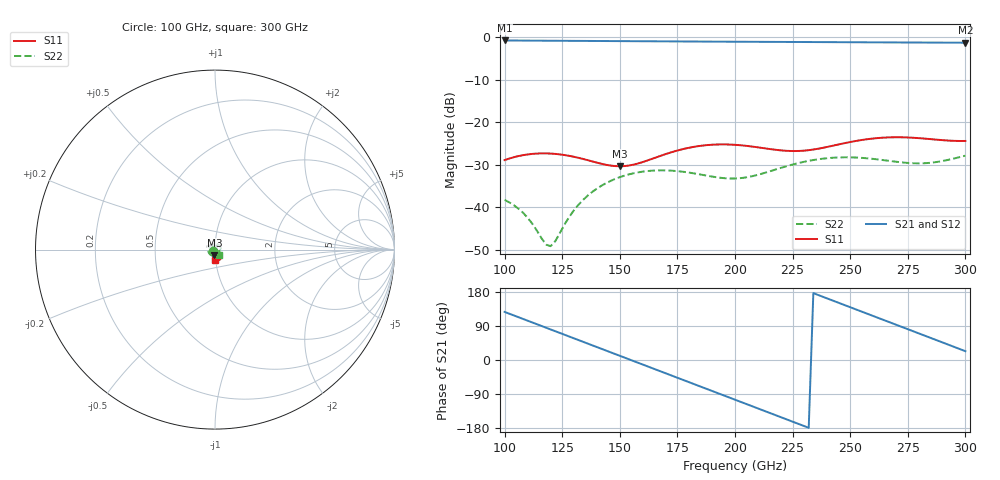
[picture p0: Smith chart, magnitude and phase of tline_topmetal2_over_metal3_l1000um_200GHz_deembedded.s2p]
! Created with skrf 2.0.1 (http://scikit-rf.org).
# GHz S DB R 50.0
!freq dBS11 angS11 dBS21 angS21 dBS12 angS12 dBS22 angS22
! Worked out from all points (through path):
!   101 points, 100 GHz to 300 GHz, reference 50 ohm
!   highest |S21| = -0.79 dB at 100 GHz (marker M1); lowest = -1.3 dB at 300 GHz (marker M2)
!   group delay of S21, straight-line fit = 6.44 ps
!   lowest |S11| = -30.4 dB at 150 GHz (marker M3), VSWR 1.06, Z = 49.6 - j2.99 ohm
!   |S11| at or under -10 dB: start of sweep to end of sweep
!   |S22| runs from -49.2 to -27.9 dB; largest |S21 - S12| = 1e-13
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100  -28.94 -75.2  -0.79 126.9  -0.79 126.9  -38.32 -138.4
110  -27.60 -86.5  -0.82 103.7  -0.82 103.7  -42.50 -175.9
118  -27.36 -95.4  -0.85 85.2  -0.85 85.2  -48.81 117.1
120  -27.40 -97.5  -0.86 80.6  -0.86 80.6  -49.19 86.6
134  -28.66 -106.5  -0.90 48.1  -0.90 48.1  -38.33 -21.3
150  -30.39 -95.5  -0.94 11.1  -0.94 11.1  -32.95 -79.1
158  -29.72 -85.4  -0.97 -7.5  -0.97 -7.5  -31.82 -106.8
168  -27.87 -80.4  -1.00 -30.6  -1.00 -30.6  -31.35 -143.0
184  -25.66 -87.1  -1.05 -67.7  -1.05 -67.7  -32.23 151.2
192  -25.27 -92.6  -1.07 -86.2  -1.07 -86.2  -32.98 111.7
200  -25.34 -97.5  -1.09 -104.8  -1.09 -104.8  -33.26 67.4
208  -25.79 -100.3  -1.11 -123.3  -1.11 -123.3  -32.66 22.1
218  -26.53 -99.1  -1.13 -146.5  -1.13 -146.5  -31.09 -29.4
226  -26.81 -94.1  -1.15 -165.0  -1.15 -165.0  -29.84 -65.8
234  -26.45 -88.3  -1.17 176.4  -1.17 176.4  -28.92 -99.6
242  -25.61 -84.8  -1.19 157.8  -1.19 157.8  -28.40 -132.3
250  -24.68 -84.8  -1.21 139.3  -1.21 139.3  -28.29 -165.0
260  -23.85 -87.9  -1.23 116.1  -1.23 116.1  -28.66 152.1
268  -23.58 -91.4  -1.25 97.5  -1.25 97.5  -29.19 114.8
276  -23.64 -94.4  -1.27 79.0  -1.27 79.0  -29.64 74.0
284  -23.96 -95.6  -1.29 60.4  -1.29 60.4  -29.61 30.6
300  -24.43 -90.3  -1.32 23.3  -1.32 23.3  -27.89 -52.2
